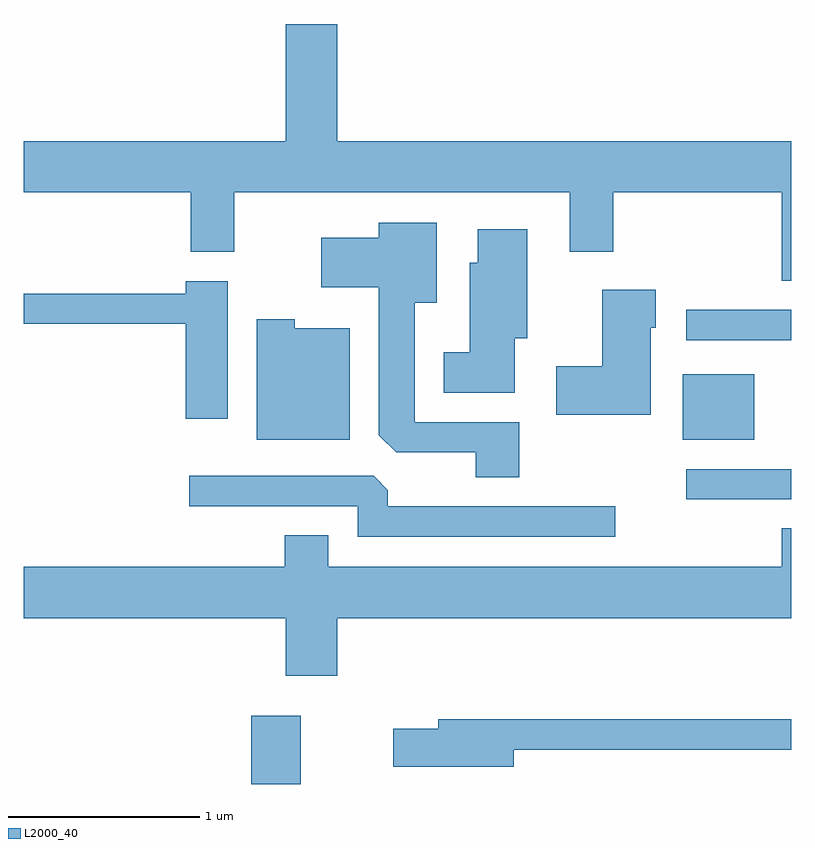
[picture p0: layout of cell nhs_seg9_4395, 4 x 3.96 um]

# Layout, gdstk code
import gdstk
lib = gdstk.Library(unit=1e-6, precision=1e-09)
def R(c, l, rs):  # rectangles x0, y0, x1, y1
    for r in rs: c.add(gdstk.rectangle(r[:2], r[2:], *l))
def P(c, l, *ps):  # polygons
    for p in ps: c.add(gdstk.Polygon(p, *l))
L2000_40 = (2000, 40)

nhs_seg9_4395 = lib.new_cell('nhs_seg9_4395')
R(nhs_seg9_4395, L2000_40, [(314.796,2066.432,315.054,2066.789), (317.063,2067.916,317.611,2068.074), (317.046,2068.226,317.419,2068.569), (317.063,2068.746,317.611,2068.904)])
P(nhs_seg9_4395, L2000_40, [(317.611,2069.784),(315.244,2069.784),(315.244,2070.394),(314.976,2070.394),(314.976,2069.784),(313.611,2069.784),(313.611,2069.516),(314.481,2069.516),(314.481,2069.206),(314.709,2069.206),(314.709,2069.516),(316.456,2069.516),(316.456,2069.206),(316.684,2069.206),(316.684,2069.516),(317.561,2069.516),(317.561,2069.056),(317.611,2069.056)],
  [(316.194,2068.319),(315.649,2068.319),(315.649,2068.941),(315.764,2068.941),(315.764,2069.359),(315.461,2069.359),(315.461,2069.279),(315.161,2069.279),(315.161,2069.021),(315.461,2069.021),(315.461,2068.251),(315.552,2068.161),(315.966,2068.161),(315.966,2068.031),(316.194,2068.031)],
  [(316.169,2068.756),(316.234,2068.756),(316.234,2069.324),(315.976,2069.324),(315.976,2069.149),(315.936,2069.149),(315.936,2068.684),(315.801,2068.684),(315.801,2068.471),(316.169,2068.471)],
  [(314.674,2069.054),(314.456,2069.054),(314.456,2068.989),(313.611,2068.989),(313.611,2068.831),(314.456,2068.831),(314.456,2068.336),(314.674,2068.336)],
  [(316.879,2068.811),(316.904,2068.811),(316.904,2069.009),(316.626,2069.009),(316.626,2068.609),(316.386,2068.609),(316.386,2068.356),(316.879,2068.356)],
  [(315.309,2068.809),(315.024,2068.809),(315.024,2068.854),(314.826,2068.854),(314.826,2068.226),(315.309,2068.226)],
  [(316.693,2067.879),(315.509,2067.879),(315.509,2067.963),(315.434,2068.039),(314.473,2068.039),(314.473,2067.881),(315.351,2067.881),(315.351,2067.721),(316.693,2067.721)],
  [(315.244,2067.296),(317.611,2067.296),(317.611,2067.764),(317.561,2067.764),(317.561,2067.564),(315.199,2067.564),(315.199,2067.729),(314.971,2067.729),(314.971,2067.564),(313.611,2067.564),(313.611,2067.296),(314.976,2067.296),(314.976,2066.996),(315.244,2066.996)],
  [(316.164,2066.611),(317.611,2066.611),(317.611,2066.769),(315.771,2066.769),(315.771,2066.719),(315.536,2066.719),(315.536,2066.521),(316.164,2066.521)])

lib.write_gds('nhs_seg9_4395.gds')
